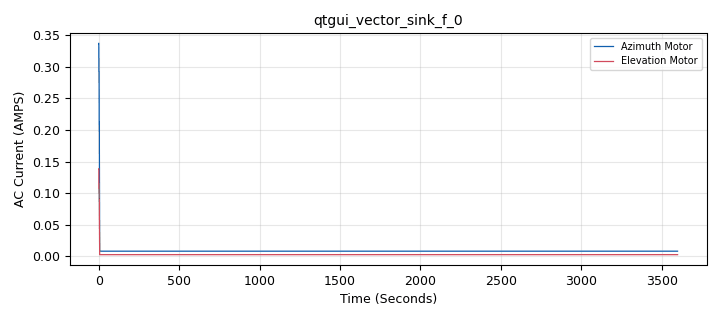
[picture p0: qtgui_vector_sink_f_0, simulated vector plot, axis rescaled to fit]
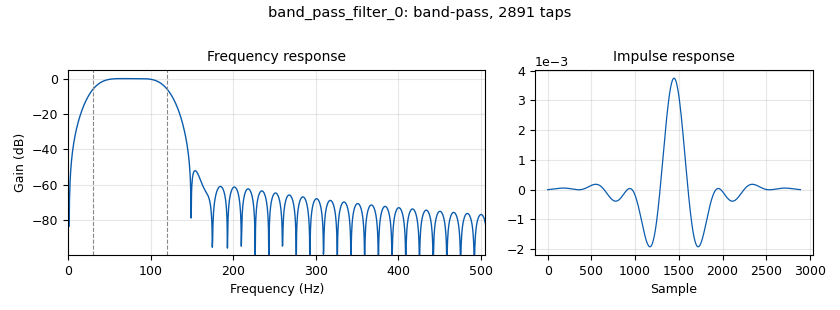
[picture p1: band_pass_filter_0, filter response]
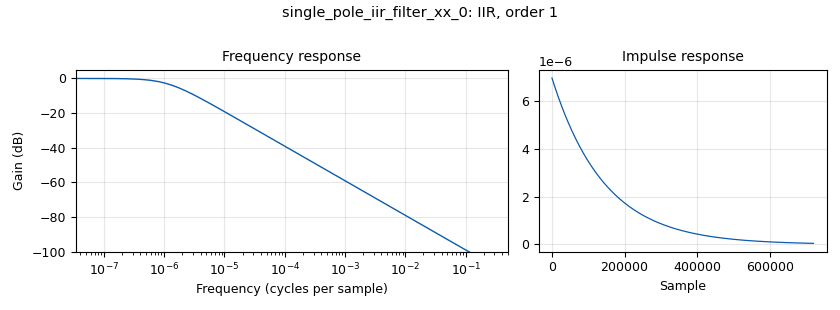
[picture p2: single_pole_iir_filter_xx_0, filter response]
options:
  parameters:
    generate_options: qt_gui
    id: measure_ac_current
    output_language: python
    title: AC Current via sound card
  states: {}

blocks:
- name: samp_rate
  id: variable
  parameters:
    value: '48000'
  states: {}
- name: analog_noise_source_x_0
  id: analog_noise_source_x
  parameters:
    amp: '0.8'
    noise_type: analog.GR_GAUSSIAN
    seed: '137'
    type: float
  states: {}
- name: analog_noise_source_x_0_0
  id: analog_noise_source_x
  parameters:
    amp: '0.5'
    noise_type: analog.GR_GAUSSIAN
    seed: '93'
    type: float
  states: {}
- name: asrc1
  id: parameter
  parameters:
    label: Audio input designator
    type: str
    value: '"hw:1,0"'
  states: {}
- name: asrc2
  id: parameter
  parameters:
    label: Audio input designator
    type: str
    value: '"hw:2,0"'
  states: {}
- name: audio_source_0
  id: audio_source
  parameters:
    device_name: asrc1
    samp_rate: samp_rate
  states: {state: disabled}
- name: audio_source_0_0
  id: audio_source
  parameters:
    device_name: asrc2
    samp_rate: samp_rate
  states: {state: disabled}
- name: band_pass_filter_0
  id: band_pass_filter
  parameters:
    decim: '1'
    gain: '1'
    high_cutoff_freq: '120'
    low_cutoff_freq: '30'
    samp_rate: samp_rate
    type: fir_filter_fff
    width: '40'
    win: window.WIN_HAMMING
  states: {}
- name: band_pass_filter_0_0
  id: band_pass_filter
  parameters:
    decim: '1'
    gain: '1'
    high_cutoff_freq: '120'
    low_cutoff_freq: '30'
    samp_rate: samp_rate
    type: fir_filter_fff
    width: '40'
    win: window.WIN_HAMMING
  states: {}
- name: blocks_keep_one_in_n_0
  id: blocks_keep_one_in_n
  parameters:
    n: int(samp_rate/10)
    type: float
  states: {}
- name: blocks_keep_one_in_n_0_0
  id: blocks_keep_one_in_n
  parameters:
    n: int(samp_rate/10)
    type: float
  states: {}
- name: blocks_multiply_const_vxx_0
  id: blocks_multiply_const_vxx
  parameters:
    const: cal
    type: float
  states: {}
- name: blocks_multiply_const_vxx_0_0
  id: blocks_multiply_const_vxx
  parameters:
    const: cal
    type: float
  states: {}
- name: blocks_multiply_xx_0
  id: blocks_multiply_xx
  parameters:
    type: float
  states: {}
- name: blocks_multiply_xx_0_0
  id: blocks_multiply_xx
  parameters:
    type: float
  states: {}
- name: blocks_throttle_0
  id: blocks_throttle
  parameters:
    samples_per_second: samp_rate
    type: float
  states: {}
- name: blocks_throttle_0_0
  id: blocks_throttle
  parameters:
    samples_per_second: samp_rate
    type: float
  states: {}
- name: cal
  id: parameter
  parameters:
    label: Calibration constant
    type: eng_float
    value: '206'
  states: {}
- name: current_logger
  id: epy_block
  parameters:
    _source_code: |
      """
      Embedded Python Blocks:

      Each time this file is saved, GRC will instantiate the first class it finds
      to get ports and parameters of your block. The arguments to __init__  will
      be the parameters. All of them are required to have default values!
      """

      import numpy as np
      from gnuradio import gr
      import time


      class blk(gr.sync_block):  # other base classes are basic_block, decim_block, interp_block
          """Embedded Python Block example - a simple multiply const"""

          def __init__(self, prefix="./",logtime=5.0):  # only default arguments here
              """arguments to this function show up as parameters in GRC"""
              gr.sync_block.__init__(
                  self,
                  name='Current Logger',   # will show up in GRC
                  in_sig=[np.float32]*2,
                  out_sig=None
              )
              # if an attribute with the same name as a parameter is found,
              # a callback is registered (properties work, too).
              self.prefix = prefix
              self.curs = [0.0]*2
              self.curcnt = 0
              self.last = time.time()
              self.logtime = logtime

          def work(self, input_items, output_items):
              """Current logger"""
              ndx = 0
              self.curcnt += len(input_items[0])
              for currents in input_items:
                  self.curs[ndx] += np.sum(currents)
                  ndx += 1

              if (time.time() - self.last >= self.logtime):
                  self.curs[0] /= self.curcnt
                  self.curs[1] /= self.curcnt
                  self.curcnt = 0
                  self.last = time.time()
                  ltp = time.gmtime(self.last)
                  fp = open ("%s%02d%02d%02d.csv" %(self.prefix,ltp.tm_year, ltp.tm_mon,
                      ltp.tm_mday), "a")
                  fp.write("%02d,%02d,%02d,%f,%f\n" % (ltp.tm_hour,ltp.tm_min,ltp.tm_sec,
                      self.curs[0], self.curs[1]))
                  fp.close()
              return len(input_items[0])
    logtime: logtime
    prefix: prefix
  states: {}
- name: logtime
  id: parameter
  parameters:
    label: Logging time
    type: eng_float
    value: '2.0'
  states: {}
- name: prefix
  id: parameter
  parameters:
    label: Log file prefix
    type: str
    value: '"./mcurrent-"'
  states: {}
- name: qtgui_vector_sink_f_0
  id: qtgui_vector_sink_f
  parameters:
    grid: 'True'
    label1: '"Azimuth Motor"'
    label2: '"Elevation Motor"'
    nconnections: '2'
    update_time: '0.5'
    vlen: '3600'
    width1: '2'
    width2: '2'
    x_axis_label: '"Time (Seconds)"'
    x_start: '0'
    x_step: '1.0'
    y_axis_label: '"AC Current (AMPS)"'
    ymax: '20'
    ymin: '0'
  states: {}
- name: single_pole_iir_filter_xx_0
  id: single_pole_iir_filter_xx
  parameters:
    alpha: 1.0/(samp_rate*3.0)
    type: float
  states: {}
- name: single_pole_iir_filter_xx_0_0
  id: single_pole_iir_filter_xx
  parameters:
    alpha: 1.0/(samp_rate*3.0)
    type: float
  states: {}
- name: stripchart_0
  id: epy_block
  parameters:
    _source_code: |
      """
      Embedded Python Blocks:

      Each time this file is saved, GRC will instantiate the first class it finds
      to get ports and parameters of your block. The arguments to __init__  will
      be the parameters. All of them are required to have default values!
      """

      import numpy as np
      from gnuradio import gr
      import time


      class blk(gr.basic_block):  # other base classes are basic_block, decim_block, interp_block
          """A strip chart takes in a stream of floats and produces a 1 hour long
             strip-chart as output
             
             Params:
                decim - how much to decimate input to produce 1 SPS
                seconds - how many seconds long is the stripchart vector
          """

          def __init__(self, decim=100,seconds=3600):  # only default arguments here
              """arguments to this function show up as parameters in GRC"""
              gr.basic_block.__init__(
                  self,
                  name='BAA:Strip Chart',   # will show up in GRC
                  in_sig=[np.float32],
                  out_sig=[(np.float32,seconds)]
              )
              # if an attribute with the same name as a parameter is found,
              # a callback is registered (properties work, too).
              
              #
              # How much do we need to average the input to produce a 1SPS
              #  output?
              #
              self.decim = decim
              
              #
              # The stripchart vector itself--must be persistent in the
              #  object instance
              #
              self.strip = [0.0]*seconds
              
              #
              # keeps track of decimation
              #
              self.counter = 0
              
              #
              # We continuously average the input and store it here
              #
              self.avg = 0.0

          def general_work(self, input_items, output_items):
              """take an input item(s), place appropriately in stripchart output"""
       
              #
              # Our averager hasn't been initialized with a
              #  "prime the pump" value?
              # Do it now.
              #
              if (self.avg == 0.0):
                  self.avg = input_items[0][0]
                  self.counter = 0
                  #
                  # Also init the strip-chart to this level
                  #
                  self.strip = [self.avg]*len(self.strip)
              #
              # For each of the input items
              #
              for x in range(len(input_items[0])):
                  #
                  # Effectively we get a N-point moving average
                  # WHere "N" is "decim"
                  #
                  self.avg += input_items[0][x]
                  self.counter += 1
                  
                  #
                  # Time to output an item into the stripchart
                  #
                  if (self.counter >= self.decim):
                      
                      #
                      # Reduce by decim
                      #
                      self.avg /= self.counter
                      
                      #
                      # Use python array notation to effect a quick
                      #  shift of items in the stripchart array
                      #
                      self.strip = [self.avg] + self.strip[:-1]
                      self.counter = 0
                      self.avg = 1.0e-15
              #
              # Stuff output items with the contents of the 
              #  possibly-updated stripchart
              #
              for y in range(len(output_items[0])):
                  output_items[0][y] = self.strip
              
              #
              # Tell scheduler we consumed items
              #
              self.consume(0, len(input_items[0]))
              return len(output_items[0])
    comment: Produces a "stripchart" type vector
    decim: '10'
    seconds: '3600'
  states: {}
- name: stripchart_0_0
  id: epy_block
  parameters:
    _source_code: |
      """
      Embedded Python Blocks:

      Each time this file is saved, GRC will instantiate the first class it finds
      to get ports and parameters of your block. The arguments to __init__  will
      be the parameters. All of them are required to have default values!
      """

      import numpy as np
      from gnuradio import gr
      import time


      class blk(gr.basic_block):  # other base classes are basic_block, decim_block, interp_block
          """A strip chart takes in a stream of floats and produces a 1 hour long
             strip-chart as output
             
             Params:
                decim - how much to decimate input to produce 1 SPS
                seconds - how many seconds long is the stripchart vector
          """

          def __init__(self, decim=100,seconds=3600):  # only default arguments here
              """arguments to this function show up as parameters in GRC"""
              gr.basic_block.__init__(
                  self,
                  name='BAA:Strip Chart',   # will show up in GRC
                  in_sig=[np.float32],
                  out_sig=[(np.float32,seconds)]
              )
              # if an attribute with the same name as a parameter is found,
              # a callback is registered (properties work, too).
              
              #
              # How much do we need to average the input to produce a 1SPS
              #  output?
              #
              self.decim = decim
              
              #
              # The stripchart vector itself--must be persistent in the
              #  object instance
              #
              self.strip = [0.0]*seconds
              
              #
              # keeps track of decimation
              #
              self.counter = 0
              
              #
              # We continuously average the input and store it here
              #
              self.avg = 0.0

          def general_work(self, input_items, output_items):
              """take an input item(s), place appropriately in stripchart output"""
       
              #
              # Our averager hasn't been initialized with a
              #  "prime the pump" value?
              # Do it now.
              #
              if (self.avg == 0.0):
                  self.avg = input_items[0][0]
                  self.counter = 0
                  #
                  # Also init the strip-chart to this level
                  #
                  self.strip = [self.avg]*len(self.strip)
              #
              # For each of the input items
              #
              for x in range(len(input_items[0])):
                  #
                  # Effectively we get a N-point moving average
                  # WHere "N" is "decim"
                  #
                  self.avg += input_items[0][x]
                  self.counter += 1
                  
                  #
                  # Time to output an item into the stripchart
                  #
                  if (self.counter >= self.decim):
                      
                      #
                      # Reduce by decim
                      #
                      self.avg /= self.counter
                      
                      #
                      # Use python array notation to effect a quick
                      #  shift of items in the stripchart array
                      #
                      self.strip = [self.avg] + self.strip[:-1]
                      self.counter = 0
                      self.avg = 1.0e-15
              #
              # Stuff output items with the contents of the 
              #  possibly-updated stripchart
              #
              for y in range(len(output_items[0])):
                  output_items[0][y] = self.strip
              
              #
              # Tell scheduler we consumed items
              #
              self.consume(0, len(input_items[0]))
              return len(output_items[0])
    comment: Produces a "stripchart" type vector
    decim: '10'
    seconds: '3600'
  states: {}

connections:
- [analog_noise_source_x_0, '0', blocks_throttle_0_0, '0']
- [analog_noise_source_x_0_0, '0', blocks_throttle_0, '0']
- [audio_source_0, '0', band_pass_filter_0, '0']
- [audio_source_0_0, '0', band_pass_filter_0_0, '0']
- [band_pass_filter_0, '0', blocks_multiply_xx_0, '0']
- [band_pass_filter_0, '0', blocks_multiply_xx_0, '1']
- [band_pass_filter_0_0, '0', blocks_multiply_xx_0_0, '0']
- [band_pass_filter_0_0, '0', blocks_multiply_xx_0_0, '1']
- [blocks_keep_one_in_n_0, '0', current_logger, '0']
- [blocks_keep_one_in_n_0, '0', stripchart_0, '0']
- [blocks_keep_one_in_n_0_0, '0', current_logger, '1']
- [blocks_keep_one_in_n_0_0, '0', stripchart_0_0, '0']
- [blocks_multiply_const_vxx_0, '0', single_pole_iir_filter_xx_0, '0']
- [blocks_multiply_const_vxx_0_0, '0', single_pole_iir_filter_xx_0_0, '0']
- [blocks_multiply_xx_0, '0', blocks_multiply_const_vxx_0, '0']
- [blocks_multiply_xx_0_0, '0', blocks_multiply_const_vxx_0_0, '0']
- [blocks_throttle_0, '0', band_pass_filter_0_0, '0']
- [blocks_throttle_0_0, '0', band_pass_filter_0, '0']
- [single_pole_iir_filter_xx_0, '0', blocks_keep_one_in_n_0, '0']
- [single_pole_iir_filter_xx_0_0, '0', blocks_keep_one_in_n_0_0, '0']
- [stripchart_0, '0', qtgui_vector_sink_f_0, '0']
- [stripchart_0_0, '0', qtgui_vector_sink_f_0, '1']

metadata:
  file_format: 1
